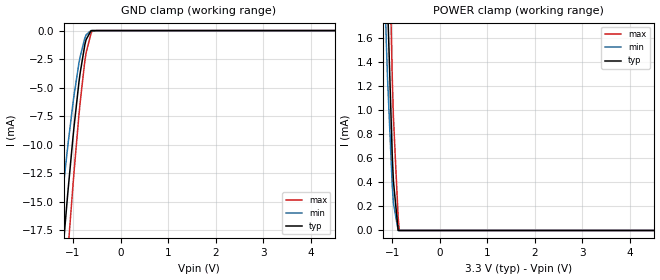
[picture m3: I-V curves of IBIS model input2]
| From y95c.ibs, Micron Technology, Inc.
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|   MODEL INPUT2
[Model]   input2
|Model used for inputs DQM, CS#, and CKE
Model_type   Input
Vinl = 800.000mV
Vinh = 2.000V
|   typ   min   max
C_comp   2.050pF   1.480pF   2.630pF
[Voltage Range]   3.300V   3.000V   3.600V
[Temperature Range]   25.0   85.0   0.0
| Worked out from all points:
|   GND clamp passes 1 mA (typ) near -0.74 V on its own axis
|   POWER clamp passes 1 mA (typ) near -1.03 V on its own axis
[GND Clamp]
|   Voltage   I(typ)   I(min)   I(max)
-3.3V     -385.1mA   -367.9mA   -404.2mA
-1.35V    -26.48mA   -21.54mA   -33.69mA
-1.25V    -21.16mA   -15.75mA   -27.63mA
-1.225V   -19.88mA   -14.54mA   -26.15mA
-1.125V   -14.97mA   -10.68mA   -20.33mA
-1.1V     -13.8mA    -9.764mA   -18.93mA
-975mV    -8.287mA   -5.568mA   -12.21mA
-850mV    -3.714mA   -2.275mA   -6.297mA
-725mV    -794.9uA   -376uA     -1.941mA
-625mV    -36.89uA   0A         -296.5uA
-600mV    0A         NA         -71.38uA
6.6V      0A         0A         0A
[POWER Clamp]
|   Voltage   I(typ)   I(min)   I(max)
-3.3V     68.18mA    56.34mA    78.14mA
-1.225V   4.236mA    3.009mA    6.08mA
-1.125V   2.318mA    1.577mA    3.648mA
-1.1V     1.917mA    1.284mA    3.115mA
-1V       626.9uA    378uA      1.281mA
-975mV    410.6uA    228.6uA    946.9uA
-875mV    0A         0A         107.2uA
6.6V      0A         0A         0A
